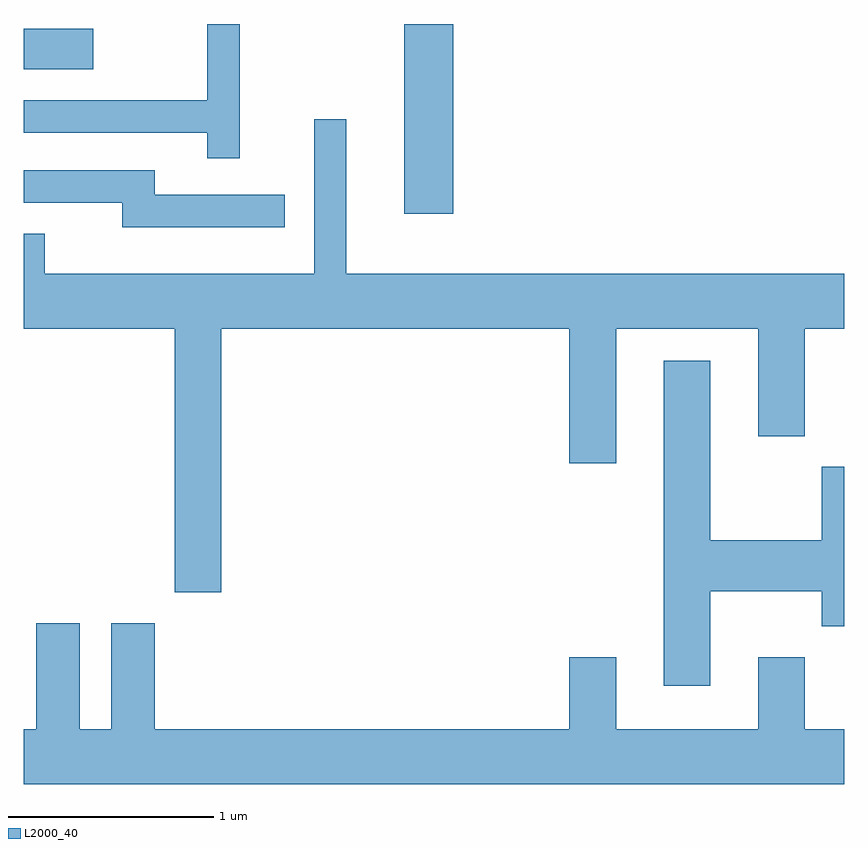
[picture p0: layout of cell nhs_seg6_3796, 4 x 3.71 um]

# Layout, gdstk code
import gdstk
lib = gdstk.Library(unit=1e-6, precision=1e-09)
def R(c, l, rs):  # rectangles x0, y0, x1, y1
    for r in rs: c.add(gdstk.rectangle(r[:2], r[2:], *l))
def P(c, l, *ps):  # polygons
    for p in ps: c.add(gdstk.Polygon(p, *l))
L2000_40 = (2000, 40)

nhs_seg6_3796 = lib.new_cell('nhs_seg6_3796')
R(nhs_seg6_3796, L2000_40, [(301.466,1577.236,301.704,1578.162), (299.611,1577.941,299.949,1578.139)])
P(nhs_seg6_3796, L2000_40, [(300.664,1578.162),(300.506,1578.162),(300.506,1577.789),(299.611,1577.789),(299.611,1577.631),(300.506,1577.631),(300.506,1577.508),(300.664,1577.508)],
  [(300.574,1576.676),(302.271,1576.676),(302.271,1576.021),(302.499,1576.021),(302.499,1576.676),(303.191,1576.676),(303.191,1576.151),(303.419,1576.151),(303.419,1576.676),(303.611,1576.676),(303.611,1576.944),(301.184,1576.944),(301.184,1577.698),(301.026,1577.698),(301.026,1576.944),(299.714,1576.944),(299.714,1577.139),(299.611,1577.139),(299.611,1576.676),(300.346,1576.676),(300.346,1575.391),(300.574,1575.391)],
  [(300.883,1577.329),(300.249,1577.329),(300.249,1577.449),(299.611,1577.449),(299.611,1577.291),(300.091,1577.291),(300.091,1577.171),(300.883,1577.171)],
  [(302.959,1575.396),(303.501,1575.396),(303.501,1575.226),(303.611,1575.226),(303.611,1576.004),(303.501,1576.004),(303.501,1575.644),(302.959,1575.644),(302.959,1576.519),(302.731,1576.519),(302.731,1574.936),(302.959,1574.936)],
  [(303.611,1574.724),(303.419,1574.724),(303.419,1575.074),(303.191,1575.074),(303.191,1574.724),(302.499,1574.724),(302.499,1575.074),(302.271,1575.074),(302.271,1574.724),(300.249,1574.724),(300.249,1575.239),(300.036,1575.239),(300.036,1574.724),(299.884,1574.724),(299.884,1575.239),(299.671,1575.239),(299.671,1574.724),(299.611,1574.724),(299.611,1574.456),(303.611,1574.456)])

lib.write_gds('nhs_seg6_3796.gds')
